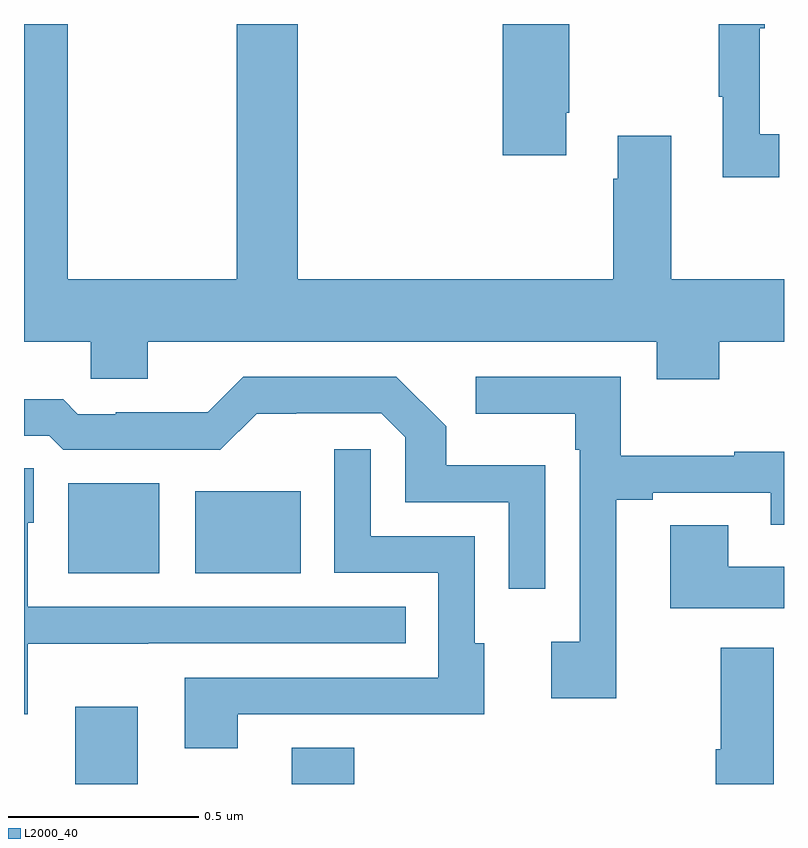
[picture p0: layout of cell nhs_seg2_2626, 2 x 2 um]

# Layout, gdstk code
import gdstk
lib = gdstk.Library(unit=1e-6, precision=1e-09)
def R(c, l, rs):  # rectangles x0, y0, x1, y1
    for r in rs: c.add(gdstk.rectangle(r[:2], r[2:], *l))
def P(c, l, *ps):  # polygons
    for p in ps: c.add(gdstk.Polygon(p, *l))
L2000_40 = (2000, 40)

nhs_seg2_2626 = lib.new_cell('nhs_seg2_2626')
R(nhs_seg2_2626, L2000_40, [(143.135,651.8,143.299,652.003), (143.705,651.8,143.869,651.895), (143.117,652.355,143.356,652.591), (143.45,652.355,143.728,652.57)])
P(nhs_seg2_2626, L2000_40, [(144.829,652.964),(145,652.964),(145,653.128),(144.703,653.128),(144.703,653.506),(144.563,653.506),(144.563,653.393),(144.551,653.393),(144.551,653.128),(143.72,653.128),(143.72,653.8),(143.56,653.8),(143.56,653.128),(143.115,653.128),(143.115,653.8),(143,653.8),(143,652.964),(143.176,652.964),(143.176,652.866),(143.326,652.866),(143.326,652.964),(144.665,652.964),(144.665,652.865),(144.829,652.865)],
  [(144.988,653.51),(144.936,653.51),(144.936,653.789),(144.949,653.789),(144.949,653.8),(144.828,653.8),(144.828,653.609),(144.839,653.609),(144.839,653.397),(144.988,653.397)],
  [(144.427,653.566),(144.435,653.566),(144.435,653.8),(144.26,653.8),(144.26,653.454),(144.427,653.454)],
  [(144.372,652.639),(144.111,652.639),(144.111,652.742),(143.98,652.872),(143.577,652.872),(143.483,652.778),(143.242,652.778),(143.242,652.773),(143.142,652.773),(143.103,652.813),(143,652.813),(143,652.716),(143.067,652.716),(143.103,652.68),(143.517,652.68),(143.612,652.775),(143.716,652.775),(143.716,652.776),(143.94,652.776),(144.003,652.713),(144.003,652.542),(144.276,652.542),(144.276,652.314),(144.372,652.314)],
  [(144.559,652.548),(144.655,652.548),(144.655,652.566),(144.965,652.566),(144.965,652.482),(145,652.482),(145,652.675),(144.869,652.675),(144.869,652.664),(144.571,652.664),(144.571,652.872),(144.189,652.872),(144.189,652.775),(144.45,652.775),(144.45,652.679),(144.462,652.679),(144.462,652.174),(144.387,652.174),(144.387,652.026),(144.559,652.026)],
  [(143.563,651.984),(143.993,651.984),(143.993,651.983),(144.211,651.983),(144.211,652.17),(144.186,652.17),(144.186,652.452),(143.913,652.452),(143.913,652.681),(143.817,652.681),(143.817,652.356),(144.09,652.356),(144.09,652.08),(143.423,652.08),(143.423,651.894),(143.563,651.894)],
  [(143.01,652.169),(143.327,652.169),(143.327,652.17),(144.005,652.17),(144.005,652.266),(143.01,652.266),(143.01,652.488),(143.026,652.488),(143.026,652.631),(143,652.631),(143,651.984),(143.01,651.984)],
  [(145,652.372),(144.853,652.372),(144.853,652.481),(144.701,652.481),(144.701,652.262),(145,652.262)],
  [(144.973,652.159),(144.833,652.159),(144.833,651.892),(144.821,651.892),(144.821,651.8),(144.973,651.8)])

lib.write_gds('nhs_seg2_2626.gds')
